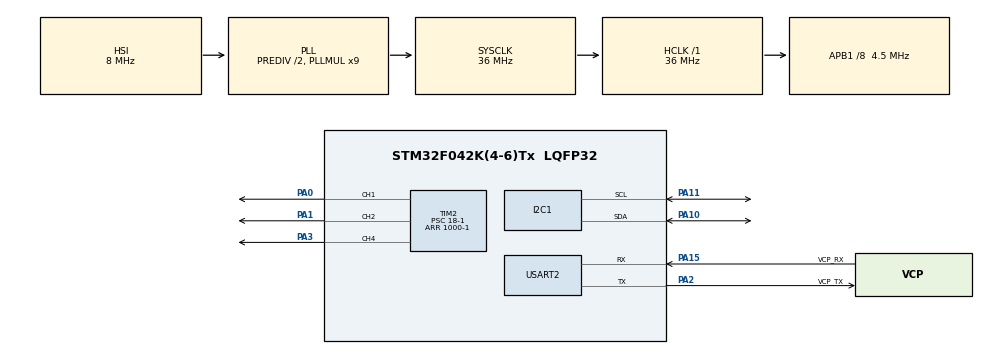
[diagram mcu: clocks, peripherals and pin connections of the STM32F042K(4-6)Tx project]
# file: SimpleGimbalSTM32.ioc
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Mcu.Family=STM32F0
Mcu.Name=STM32F042K(4-6)Tx
Mcu.Package=LQFP32
PA0.Signal=S_TIM2_CH1_ETR
PA1.Signal=S_TIM2_CH2
PA10.Mode=I2C
PA10.Signal=I2C1_SDA
PA11.Mode=I2C
PA11.Signal=I2C1_SCL
PA13.GPIO_Label=SWDIO
PA13.Mode=Serial_Wire
PA13.Signal=SYS_SWDIO
PA14.GPIO_Label=SWCLK
PA14.Mode=Serial_Wire
PA14.Signal=SYS_SWCLK
PA15.GPIO_Label=VCP_RX
PA15.Mode=Asynchronous
PA15.Signal=USART2_RX
PA2.GPIO_Label=VCP_TX
PA2.Mode=Asynchronous
PA2.Signal=USART2_TX
PA3.Signal=S_TIM2_CH4
PF0-OSC_IN.GPIO_Label=MCO
PF0-OSC_IN.Mode=HSE-External-Clock-Source
PF0-OSC_IN.Signal=RCC_OSC_IN
ProjectManager.HeapSize=0x200
ProjectManager.StackSize=0x400
ProjectManager.TargetToolchain=STM32CubeIDE
RCC.AHBFreq_Value=36000000
RCC.APB1CLKDivider=RCC_HCLK_DIV8
RCC.APB1Freq_Value=4500000
RCC.APB1TimFreq_Value=9000000
RCC.HCLKFreq_Value=36000000
RCC.PLLDivider=RCC_PREDIV_DIV2
RCC.PLLMUL=RCC_PLL_MUL9
RCC.SYSCLKFreq_VALUE=36000000
RCC.SYSCLKSource=RCC_SYSCLKSOURCE_PLLCLK
SH.S_TIM2_CH1_ETR.0=TIM2_CH1,PWM Generation1 CH1
SH.S_TIM2_CH2.0=TIM2_CH2,PWM Generation2 CH2
SH.S_TIM2_CH4.0=TIM2_CH4,PWM Generation4 CH4
TIM2.Channel-PWM\ Generation1\ CH1=TIM_CHANNEL_1
TIM2.Channel-PWM\ Generation2\ CH2=TIM_CHANNEL_2
TIM2.Channel-PWM\ Generation4\ CH4=TIM_CHANNEL_4
TIM2.Period=1000-1
TIM2.Prescaler=18-1
USART2.VirtualMode-Asynchronous=VM_ASYNC
board=NUCLEO-F042K6

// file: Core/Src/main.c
/* USER CODE BEGIN Header */
/**
  ******************************************************************************
  * @file           : main.c
  * @brief          : Main program body
  ******************************************************************************
  * @attention
  *
  * Copyright (c) 2024 STMicroelectronics.
  * All rights reserved.
  *
  * This software is licensed under terms that can be found in the LICENSE file
  * in the root directory of this software component.
  * If no LICENSE file comes with this software, it is provided AS-IS.
  *
  ******************************************************************************
  */
/* USER CODE END Header */
#include "main.h"

I2C_HandleTypeDef hi2c1;

TIM_HandleTypeDef htim2;

UART_HandleTypeDef huart2;

void SystemClock_Config(void);
static void MX_GPIO_Init(void);
static void MX_USART2_UART_Init(void);
static void MX_I2C1_Init(void);
static void MX_TIM2_Init(void);

/* USER CODE BEGIN 0 */
#define MPU6050_ADDR 0xD0

#define SMPLRT_DIV_REG 0x19
#define GYRO_CONFIG_REG 0x1B
#define ACCEL_CONFIG_REG 0x1C
#define ACCEL_XOUT_H_REG 0x3B
#define TEMP_OUT_H_REG 0x41
#define GYRO_XOUT_H_REG 0x43
#define PWR_MGMT_1_REG 0x6B
#define WHO_AM_I_REG 0x75

int16_t Accel_X_RAW = 0;
int16_t Accel_Y_RAW = 0;
int16_t Accel_Z_RAW = 0;

int16_t Gyro_X_RAW = 0;
int16_t Gyro_Y_RAW = 0;
int16_t Gyro_Z_RAW = 0;

float Ax, Ay, Az, Gx, Gy, Gz;

float Kp[3] = {1, 1, 1};
float Ki[3] = {0.0, 0.0, 0.0};
float Kd[3] = {0.0, 0.0, 0.0};

double prevError[3] = {0, 0, 0};
double integralError[3] = {0, 0, 0};

int target[3] = {0, 0, 0};

void MPU6050_Init(void) {
    uint8_t check;
    uint8_t data;

    HAL_I2C_Mem_Read(&hi2c1, MPU6050_ADDR, WHO_AM_I_REG, 1, &check, 1, 1000);

    if (check == 104) {
        data = 0;
        HAL_I2C_Mem_Write(&hi2c1, MPU6050_ADDR, PWR_MGMT_1_REG, 1, &data, 1, 1000);

        data = 0x07;
        HAL_I2C_Mem_Write(&hi2c1, MPU6050_ADDR, SMPLRT_DIV_REG, 1, &data, 1, 1000);

        data = 0x00;
        HAL_I2C_Mem_Write(&hi2c1, MPU6050_ADDR, ACCEL_CONFIG_REG, 1, &data, 1, 1000);

        data = 0x00;
        HAL_I2C_Mem_Write(&hi2c1, MPU6050_ADDR, GYRO_CONFIG_REG, 1, &data, 1, 1000);
    }
}

void MPU6050_Read_Accel(void) {
    uint8_t Rec_Data[6];

    HAL_I2C_Mem_Read(&hi2c1, MPU6050_ADDR, ACCEL_XOUT_H_REG, 1, Rec_Data, 6, 1000);

    Accel_X_RAW = (int16_t)(Rec_Data[0] << 8 | Rec_Data[1]);
    Accel_Y_RAW = (int16_t)(Rec_Data[2] << 8 | Rec_Data[3]);
    Accel_Z_RAW = (int16_t)(Rec_Data[4] << 8 | Rec_Data[5]);

    Ax = Accel_X_RAW / 16384.0;
    Ay = Accel_Y_RAW / 16384.0;
    Az = Accel_Z_RAW / 16384.0;
}

void MPU6050_Read_Gyro(void) {
    uint8_t Rec_Data[6];

    HAL_I2C_Mem_Read(&hi2c1, MPU6050_ADDR, GYRO_XOUT_H_REG, 1, Rec_Data, 6, 1000);

    Gyro_X_RAW = (int16_t)(Rec_Data[0] << 8 | Rec_Data[1]);
    Gyro_Y_RAW = (int16_t)(Rec_Data[2] << 8 | Rec_Data[3]);
    Gyro_Z_RAW = (int16_t)(Rec_Data[4] << 8 | Rec_Data[5]);

    Gx = Gyro_X_RAW / 131.0;
    Gy = Gyro_Y_RAW / 131.0;
    Gz = Gyro_Z_RAW / 131.0;
}

int PID_Control(double targetValue, double currentValue, int axis) {
    if (targetValue > 720) targetValue = 720;
    if (targetValue < -720) targetValue = -720;

    double error = targetValue - currentValue;
    integralError[axis] += error;
    double errorDifference = error - prevError[axis];

    double output = Kp[axis] * error + Ki[axis] * integralError[axis] + Kd[axis] * errorDifference;

    prevError[axis] = error;

    // Scale output
    if (error > 0) {
        output += 770;
        if (output > 990) output = 990;
    } else {
        output += 740;
        if (output < 540) output = 540;
    }

    return output;
}

/* USER CODE END 0 */

int main(void)
{

  /* MCU Configuration--------------------------------------------------------*/

  /* Reset of all peripherals, Initializes the Flash interface and the Systick. */
  HAL_Init();

  /* Configure the system clock */
  SystemClock_Config();

  /* Initialize all configured peripherals */
  MX_GPIO_Init();
  MX_USART2_UART_Init();
  MX_I2C1_Init();
  MX_TIM2_Init();
  /* USER CODE BEGIN 2 */
    MPU6050_Init();
    HAL_TIM_PWM_Start(&htim2, TIM_CHANNEL_1);
  /* USER CODE END 2 */

  /* Infinite loop */
  /* USER CODE BEGIN WHILE */
    while (1) {
        MPU6050_Read_Gyro();
        TIM2->CCR1 = PID_Control(target[2], Gz, 2);
        TIM2->CCR2 = PID_Control(target[0], Gx, 0);
        TIM2->CCR4 = PID_Control(target[1], Gy, 1);
    }
    /* USER CODE END WHILE */

}

void SystemClock_Config(void)
{
  RCC_OscInitTypeDef RCC_OscInitStruct = {0};
  RCC_ClkInitTypeDef RCC_ClkInitStruct = {0};
  RCC_PeriphCLKInitTypeDef PeriphClkInit = {0};

  /** Initializes the RCC Oscillators according to the specified parameters
  * in the RCC_OscInitTypeDef structure.
  */
  RCC_OscInitStruct.OscillatorType = RCC_OSCILLATORTYPE_HSI;
  RCC_OscInitStruct.HSIState = RCC_HSI_ON;
  RCC_OscInitStruct.HSICalibrationValue = RCC_HSICALIBRATION_DEFAULT;
  RCC_OscInitStruct.PLL.PLLState = RCC_PLL_ON;
  RCC_OscInitStruct.PLL.PLLSource = RCC_PLLSOURCE_HSI;
  RCC_OscInitStruct.PLL.PLLMUL = RCC_PLL_MUL9;
  RCC_OscInitStruct.PLL.PREDIV = RCC_PREDIV_DIV2;
  if (HAL_RCC_OscConfig(&RCC_OscInitStruct) != HAL_OK)
  {
    Error_Handler();
  }

  /** Initializes the CPU, AHB and APB buses clocks
  */
  RCC_ClkInitStruct.ClockType = RCC_CLOCKTYPE_HCLK|RCC_CLOCKTYPE_SYSCLK
                              |RCC_CLOCKTYPE_PCLK1;
  RCC_ClkInitStruct.SYSCLKSource = RCC_SYSCLKSOURCE_PLLCLK;
  RCC_ClkInitStruct.AHBCLKDivider = RCC_SYSCLK_DIV1;
  RCC_ClkInitStruct.APB1CLKDivider = RCC_HCLK_DIV8;

  if (HAL_RCC_ClockConfig(&RCC_ClkInitStruct, FLASH_LATENCY_1) != HAL_OK)
  {
    Error_Handler();
  }
  PeriphClkInit.PeriphClockSelection = RCC_PERIPHCLK_I2C1;
  PeriphClkInit.I2c1ClockSelection = RCC_I2C1CLKSOURCE_HSI;
  if (HAL_RCCEx_PeriphCLKConfig(&PeriphClkInit) != HAL_OK)
  {
    Error_Handler();
  }
}

static void MX_I2C1_Init(void)
{

  hi2c1.Instance = I2C1;
  hi2c1.Init.Timing = 0x2000090E;
  hi2c1.Init.OwnAddress1 = 0;
  hi2c1.Init.AddressingMode = I2C_ADDRESSINGMODE_7BIT;
  hi2c1.Init.DualAddressMode = I2C_DUALADDRESS_DISABLE;
  hi2c1.Init.OwnAddress2 = 0;
  hi2c1.Init.OwnAddress2Masks = I2C_OA2_NOMASK;
  hi2c1.Init.GeneralCallMode = I2C_GENERALCALL_DISABLE;
  hi2c1.Init.NoStretchMode = I2C_NOSTRETCH_DISABLE;
  if (HAL_I2C_Init(&hi2c1) != HAL_OK)
  {
    Error_Handler();
  }

  /** Configure Analogue filter
  */
  if (HAL_I2CEx_ConfigAnalogFilter(&hi2c1, I2C_ANALOGFILTER_ENABLE) != HAL_OK)
  {
    Error_Handler();
  }

  /** Configure Digital filter
  */
  if (HAL_I2CEx_ConfigDigitalFilter(&hi2c1, 0) != HAL_OK)
  {
    Error_Handler();
  }

}

static void MX_TIM2_Init(void)
{

  TIM_MasterConfigTypeDef sMasterConfig = {0};
  TIM_OC_InitTypeDef sConfigOC = {0};

  htim2.Instance = TIM2;
  htim2.Init.Prescaler = 18-1;
  htim2.Init.CounterMode = TIM_COUNTERMODE_UP;
  htim2.Init.Period = 1000-1;
  htim2.Init.ClockDivision = TIM_CLOCKDIVISION_DIV1;
  htim2.Init.AutoReloadPreload = TIM_AUTORELOAD_PRELOAD_DISABLE;
  if (HAL_TIM_PWM_Init(&htim2) != HAL_OK)
  {
    Error_Handler();
  }
  sMasterConfig.MasterOutputTrigger = TIM_TRGO_RESET;
  sMasterConfig.MasterSlaveMode = TIM_MASTERSLAVEMODE_DISABLE;
  if (HAL_TIMEx_MasterConfigSynchronization(&htim2, &sMasterConfig) != HAL_OK)
  {
    Error_Handler();
  }
  sConfigOC.OCMode = TIM_OCMODE_PWM1;
  sConfigOC.Pulse = 0;
  sConfigOC.OCPolarity = TIM_OCPOLARITY_HIGH;
  sConfigOC.OCFastMode = TIM_OCFAST_DISABLE;
  if (HAL_TIM_PWM_ConfigChannel(&htim2, &sConfigOC, TIM_CHANNEL_1) != HAL_OK)
  {
    Error_Handler();
  }
  if (HAL_TIM_PWM_ConfigChannel(&htim2, &sConfigOC, TIM_CHANNEL_2) != HAL_OK)
  {
    Error_Handler();
  }
  if (HAL_TIM_PWM_ConfigChannel(&htim2, &sConfigOC, TIM_CHANNEL_4) != HAL_OK)
  {
    Error_Handler();
  }
  HAL_TIM_MspPostInit(&htim2);

}

static void MX_USART2_UART_Init(void)
{

  huart2.Instance = USART2;
  huart2.Init.BaudRate = 38400;
  huart2.Init.WordLength = UART_WORDLENGTH_8B;
  huart2.Init.StopBits = UART_STOPBITS_1;
  huart2.Init.Parity = UART_PARITY_NONE;
  huart2.Init.Mode = UART_MODE_TX_RX;
  huart2.Init.HwFlowCtl = UART_HWCONTROL_NONE;
  huart2.Init.OverSampling = UART_OVERSAMPLING_16;
  huart2.Init.OneBitSampling = UART_ONE_BIT_SAMPLE_DISABLE;
  huart2.AdvancedInit.AdvFeatureInit = UART_ADVFEATURE_NO_INIT;
  if (HAL_UART_Init(&huart2) != HAL_OK)
  {
    Error_Handler();
  }

}

static void MX_GPIO_Init(void)
{

  /* GPIO Ports Clock Enable */
  __HAL_RCC_GPIOF_CLK_ENABLE();
  __HAL_RCC_GPIOA_CLK_ENABLE();

}

void Error_Handler(void)
{
  __disable_irq();
  while (1)
  {
  }
}
